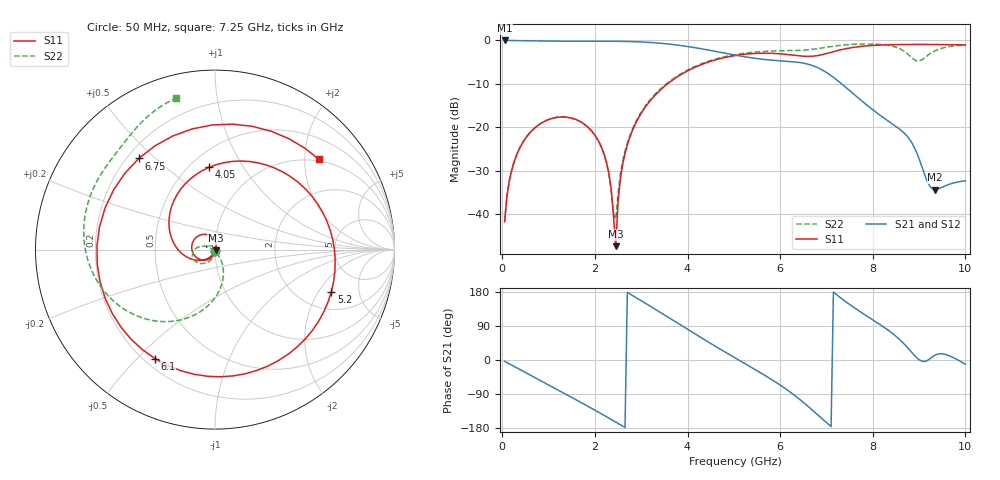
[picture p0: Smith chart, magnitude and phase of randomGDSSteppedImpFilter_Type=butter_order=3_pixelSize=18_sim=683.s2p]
! freq	dB(S11)	phase(S11)	dB(S12)	phase(S12)
!  dB(S21)	phase(S21)	dB(S22)	phase(S22)
!S-par simulation data
#  GHz  S  DB  R 50
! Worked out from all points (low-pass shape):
!   200 points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, 50 MHz to 10 GHz, reference 50 ohm
!   highest |S21| = -0.01 dB at 50 MHz (marker M1); lowest = -34.4 dB at 9.35 GHz (marker M2)
!   |S21| within 3 dB of the highest: start of sweep to 4.839 GHz
!   lowest |S11| = -47.4 dB at 2.45 GHz (marker M3), VSWR 1.01, Z = 50.3 - j0.306 ohm
!   |S11| at or under -10 dB: start of sweep to 3.568 GHz
!   |S22| runs from -41.8 to -0.8 dB; largest |S21 - S12| = 0
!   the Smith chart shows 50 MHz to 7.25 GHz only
!   S11 on the Smith chart (normalised r, x): 50 MHz: 1.00, -0.02; 4.05 GHz: 0.62, +0.72; 5.2 GHz: 2.92, -2.63; 6.1 GHz: 0.24, -0.57; 6.75 GHz: 0.25, +0.44; 7.25 GHz: 0.96, +2.34
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0.05  -41.79 -91.5  -0.01 -3.4  -0.01 -3.4  -41.77 -90.1
0.55  -21.87 -133.2  -0.08 -36.3  -0.08 -36.3  -21.84 -120.1
1.75  -19.14 130.4  -0.19 -115.4  -0.19 -115.4  -19.17 178.0
2.25  -28.09 84.1  -0.19 -149.6  -0.19 -149.6  -28.34 160.0
2.45  -47.43 -45.8  -0.20 -163.7  -0.20 -163.7  -41.22 -101.6
2.55  -31.92 -109.7  -0.21 -170.8  -0.21 -170.8  -30.83 -61.4
2.7  -24.09 -128.5  -0.24 178.4  -0.24 178.4  -23.61 -60.4
3.4  -11.55 160.6  -0.64 126.5  -0.64 126.5  -11.33 -90.4
4.05  -6.75 94.0  -1.48 77.3  -1.48 77.3  -6.57 -121.6
5.05  -3.44 -5.4  -3.43 3.9  -3.43 3.9  -3.22 -168.2
5.2  -3.23 -20.0  -3.71 -6.8  -3.71 -6.8  -2.98 -174.8
6.1  -3.18 -118.8  -4.77 -74.5  -4.77 -74.5  -2.37 148.4
6.7  -3.64 139.8  -5.80 -132.7  -5.80 -132.7  -2.05 127.7
6.75  -3.58 129.9  -6.00 -138.1  -6.00 -138.1  -1.98 126.0
7.25  -2.31 41.0  -9.34 169.3  -9.34 169.3  -1.19 104.3
7.7  -1.43 -12.5  -13.39 129.7  -13.39 129.7  -0.84 79.1
8.35  -1.00 -61.6  -18.71 77.1  -18.71 77.1  -1.16 27.1
8.65  -0.94 -78.6  -21.08 45.8  -21.08 45.8  -2.29 -20.1
8.85  -0.92 -88.9  -23.71 18.9  -23.71 18.9  -4.04 -78.8
9.1  -0.92 -100.9  -30.32 -3.9  -30.32 -3.9  -4.16 179.2
9.35  -0.94 -112.3  -34.38 13.2  -34.38 13.2  -2.35 115.8
10  -1.05 -140.4  -32.37 -11.2  -32.37 -11.2  -1.08 47.9
